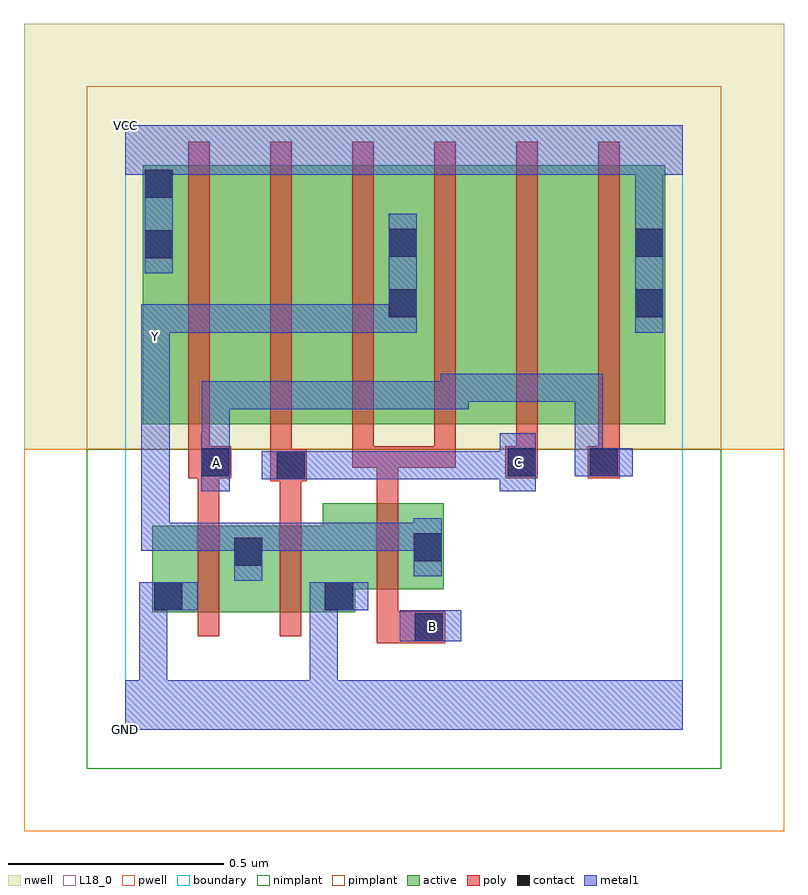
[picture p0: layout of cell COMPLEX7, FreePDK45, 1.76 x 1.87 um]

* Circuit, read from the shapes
.subckt COMPLEX7 A B C GND VCC Y
M1 Y A GND VSUBS nfet w=0.2u l=0.05u
M2 GND C Y VSUBS nfet w=0.2u l=0.05u
M3 Y B GND VSUBS nfet w=0.2u l=0.05u
M4 n1 A VCC n2 pfet w=0.6u l=0.05u
M5 n3 C n1 n2 pfet w=0.6u l=0.05u
M6 Y B n3 n2 pfet w=0.6u l=0.05u
M7 n4 B Y n2 pfet w=0.6u l=0.05u
M8 n5 C n4 n2 pfet w=0.6u l=0.05u
M9 VCC A n5 n2 pfet w=0.6u l=0.05u
.ends

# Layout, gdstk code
import gdstk
lib = gdstk.Library(unit=1e-6, precision=1e-09)
def R(c, l, rs):  # rectangles x0, y0, x1, y1
    for r in rs: c.add(gdstk.rectangle(r[:2], r[2:], *l))
def A(c, l, x, y, w, h, nx, ny, dx, dy):  # array of equal rectangles
    R(c, l, [(x+i*dx, y+j*dy, x+i*dx+w, y+j*dy+h) for i in range(nx) for j in range(ny)])
active = (1, 0)
pwell = (2, 0)
nwell = (3, 0)
nimplant = (4, 0)
pimplant = (5, 0)
poly = (9, 0)
contact = (10, 0)
metal1 = (11, 0)
L18_0 = (18, 0)
boundary = (235, 0)

complex7 = lib.new_cell('COMPLEX7')
R(complex7, active, [(0.062,0.272,0.137,0.472), (0.062,0.272,0.322,0.472), (0.247,0.272,0.322,0.472), (0.247,0.272,0.532,0.472), (0.457,0.272,0.532,0.415), (0.457,0.325,0.737,0.525), (0.662,0.325,0.737,0.525), (0.04,0.707,0.115,1.307), (0.04,0.707,0.265,1.307), (0.265,0.707,0.455,1.307), (0.455,0.707,0.68,1.307), (0.605,0.707,0.835,1.307), (0.605,0.707,0.68,1.2), (0.835,0.707,1.025,1.307), (1.025,0.707,1.25,1.307), (1.175,0.707,1.25,1.307)])
R(complex7, pwell, [(-0.235,-0.235,1.525,0.65)])
R(complex7, nwell, [(-0.235,0.65,1.525,1.635)])
R(complex7, nimplant, [(-0.09,-0.09,1.38,0.65)])
R(complex7, pimplant, [(-0.09,0.65,1.38,1.49)])
A(complex7, poly, 0.525, 0.607, 0.05, 0.095, 4, 1, 0.19, 0)
A(complex7, poly, 0.145, 0.652, 0.05, 0.71, 6, 1, 0.19, 0)
R(complex7, poly, [(0.582,0.2,0.74,0.275), (0.167,0.217,0.217,0.527), (0.357,0.217,0.407,0.527), (0.582,0.225,0.632,0.32), (0.582,0.27,0.632,0.58), (0.167,0.477,0.217,0.632), (0.357,0.477,0.407,0.625), (0.582,0.53,0.632,0.657), (0.335,0.575,0.42,0.65), (0.145,0.582,0.245,0.657), (0.88,0.582,0.955,0.657), (1.07,0.582,1.145,0.657), (0.335,0.6,0.385,0.702), (0.145,0.607,0.195,0.702), (0.525,0.607,0.632,0.657), (0.582,0.607,0.765,0.657), (0.715,0.607,0.765,0.657), (0.715,0.607,0.765,0.657), (0.715,0.607,0.765,0.657)])
R(complex7, contact, [(0.67,0.205,0.735,0.27), (0.067,0.277,0.132,0.342), (0.462,0.277,0.527,0.342), (0.252,0.38,0.317,0.445), (0.667,0.39,0.732,0.455), (0.35,0.58,0.415,0.645), (0.175,0.587,0.24,0.652), (0.885,0.587,0.95,0.652), (1.075,0.587,1.14,0.652), (0.61,0.955,0.675,1.02), (1.18,0.955,1.245,1.02), (0.045,1.092,0.11,1.157), (0.61,1.095,0.675,1.16), (1.18,1.095,1.245,1.16), (0.045,1.232,0.11,1.297)])
R(complex7, metal1, [(0,0,1.29,0.115), (0.032,0.05,0.097,0.115), (0.032,0.05,0.097,0.115), (0.032,0.05,0.097,0.115), (0.032,0.05,0.097,0.115), (0.032,0.05,0.097,0.115), (0.032,0.05,0.097,0.115), (0.032,0.05,0.097,0.342), (0.427,0.05,0.492,0.115), (0.427,0.05,0.492,0.115), (0.427,0.05,0.492,0.115), (0.427,0.05,0.492,0.115), (0.427,0.05,0.492,0.342), (0.635,0.205,0.777,0.277), (0.032,0.277,0.167,0.342), (0.427,0.277,0.492,0.342), (0.427,0.277,0.492,0.342), (0.427,0.277,0.562,0.342), (0.252,0.345,0.317,0.48), (0.667,0.355,0.732,0.49), (0.037,0.415,0.102,0.48), (0.037,0.415,0.102,0.48), (0.037,0.415,0.102,0.48), (0.037,0.415,0.317,0.48), (0.037,0.415,0.102,0.907), (0.252,0.415,0.455,0.48), (0.39,0.415,0.455,0.48), (0.39,0.415,0.455,0.48), (0.39,0.415,0.455,0.48), (0.39,0.415,0.657,0.48), (0.592,0.415,0.657,0.48), (0.592,0.415,0.732,0.48), (0.175,0.552,0.242,0.687), (0.867,0.552,0.95,0.687), (0.315,0.58,0.45,0.645), (0.385,0.58,0.455,0.645), (0.39,0.58,0.455,0.645), (0.39,0.58,0.657,0.645), (0.592,0.58,0.657,0.645), (0.592,0.58,0.657,0.645), (0.592,0.58,0.657,0.645), (0.592,0.58,0.795,0.645), (0.73,0.58,0.795,0.645), (0.73,0.58,0.932,0.645), (0.867,0.58,0.932,0.645), (0.867,0.58,0.932,0.645), (1.04,0.587,1.105,0.652), (1.04,0.587,1.105,0.652), (1.04,0.587,1.175,0.652), (1.04,0.587,1.105,0.825), (0.177,0.622,0.242,0.687), (0.177,0.622,0.242,0.687), (0.177,0.622,0.242,0.807), (0.177,0.742,0.242,0.807), (0.177,0.742,0.455,0.807), (0.39,0.742,0.455,0.807), (0.39,0.742,0.455,0.807), (0.39,0.742,0.455,0.807), (0.39,0.742,0.657,0.807), (0.592,0.742,0.657,0.807), (0.592,0.742,0.657,0.807), (0.592,0.742,0.657,0.807), (0.592,0.742,0.795,0.807), (0.73,0.742,0.795,0.825), (0.73,0.76,0.932,0.825), (0.867,0.76,0.932,0.825), (0.867,0.76,0.932,0.825), (0.867,0.76,0.932,0.825), (0.867,0.76,1.105,0.825), (1.04,0.76,1.105,0.825), (0.037,0.842,0.102,0.977), (0.037,0.912,0.102,0.977), (0.037,0.912,0.102,0.985), (0.037,0.92,0.102,0.985), (0.037,0.92,0.102,0.985), (0.037,0.92,0.102,0.985), (0.037,0.92,0.102,0.985), (0.037,0.92,0.24,0.985), (0.175,0.92,0.24,0.985), (0.175,0.92,0.455,0.985), (0.39,0.92,0.455,0.985), (0.39,0.92,0.455,0.985), (0.39,0.92,0.455,0.985), (0.39,0.92,0.657,0.985), (0.592,0.92,0.657,0.985), (0.592,0.92,0.675,0.985), (0.61,0.92,0.675,1.195), (1.18,0.92,1.245,1.195), (0.045,1.057,0.11,1.332), (1.18,1.13,1.245,1.35), (0.045,1.267,0.11,1.35), (0,1.285,1.29,1.4)])
R(complex7, L18_0, [(0,0,1.29,0.115), (0.032,0.05,0.097,0.115), (0.032,0.05,0.097,0.115), (0.032,0.05,0.097,0.115), (0.032,0.05,0.097,0.115), (0.032,0.05,0.097,0.115), (0.032,0.05,0.097,0.115), (0.032,0.05,0.097,0.342), (0.427,0.05,0.492,0.115), (0.427,0.05,0.492,0.115), (0.427,0.05,0.492,0.115), (0.427,0.05,0.492,0.115), (0.427,0.05,0.492,0.342), (0.635,0.205,0.777,0.277), (0.677,0.207,0.742,0.272), (0.032,0.277,0.167,0.342), (0.427,0.277,0.492,0.342), (0.427,0.277,0.492,0.342), (0.427,0.277,0.562,0.342), (0.252,0.345,0.317,0.48), (0.667,0.355,0.732,0.49), (0.037,0.415,0.102,0.48), (0.037,0.415,0.102,0.48), (0.037,0.415,0.102,0.48), (0.037,0.415,0.102,0.907), (0.037,0.415,0.317,0.48), (0.252,0.415,0.455,0.48), (0.39,0.415,0.455,0.48), (0.39,0.415,0.455,0.48), (0.39,0.415,0.455,0.48), (0.39,0.415,0.657,0.48), (0.592,0.415,0.657,0.48), (0.592,0.415,0.732,0.48), (0.175,0.552,0.242,0.687), (0.867,0.552,0.95,0.687), (0.315,0.58,0.45,0.645), (0.385,0.58,0.455,0.645), (0.39,0.58,0.455,0.645), (0.39,0.58,0.657,0.645), (0.592,0.58,0.657,0.645), (0.592,0.58,0.657,0.645), (0.592,0.58,0.657,0.645), (0.592,0.58,0.795,0.645), (0.73,0.58,0.795,0.645), (0.73,0.58,0.932,0.645), (0.867,0.58,0.932,0.645), (0.867,0.58,0.932,0.645), (0.177,0.587,0.242,0.652), (0.877,0.587,0.942,0.652), (1.04,0.587,1.105,0.652), (1.04,0.587,1.105,0.652), (1.04,0.587,1.175,0.652), (1.04,0.587,1.105,0.825), (0.177,0.622,0.242,0.687), (0.177,0.622,0.242,0.687), (0.177,0.622,0.242,0.807), (0.177,0.742,0.242,0.807), (0.177,0.742,0.455,0.807), (0.39,0.742,0.455,0.807), (0.39,0.742,0.455,0.807), (0.39,0.742,0.455,0.807), (0.39,0.742,0.657,0.807), (0.592,0.742,0.657,0.807), (0.592,0.742,0.657,0.807), (0.592,0.742,0.657,0.807), (0.592,0.742,0.795,0.807), (0.73,0.742,0.795,0.825), (0.73,0.76,0.932,0.825), (0.867,0.76,0.932,0.825), (0.867,0.76,0.932,0.825), (0.867,0.76,0.932,0.825), (0.867,0.76,1.105,0.825), (1.04,0.76,1.105,0.825), (0.037,0.842,0.102,0.977), (0.037,0.877,0.102,0.942), (0.037,0.912,0.102,0.977), (0.037,0.912,0.102,0.985), (0.037,0.92,0.102,0.985), (0.037,0.92,0.102,0.985), (0.037,0.92,0.102,0.985), (0.037,0.92,0.102,0.985), (0.037,0.92,0.24,0.985), (0.175,0.92,0.24,0.985), (0.175,0.92,0.455,0.985), (0.39,0.92,0.455,0.985), (0.39,0.92,0.455,0.985), (0.39,0.92,0.455,0.985), (0.39,0.92,0.657,0.985), (0.592,0.92,0.657,0.985), (0.592,0.92,0.675,0.985), (0.61,0.92,0.675,1.195), (1.18,0.92,1.245,1.195), (0.045,1.057,0.11,1.332), (1.18,1.13,1.245,1.35), (0.045,1.267,0.11,1.35), (0,1.285,1.29,1.4)])
R(complex7, boundary, [(0,0,1.29,1.4)])
complex7.add(gdstk.Label('A', (0.21,0.62), layer=11, texttype=0))
complex7.add(gdstk.Label('B', (0.71,0.24), layer=11, texttype=0))
complex7.add(gdstk.Label('C', (0.91,0.62), layer=11, texttype=0))
complex7.add(gdstk.Label('Y', (0.07,0.91), layer=11, texttype=0))
complex7.add(gdstk.Label('VCC', (0,1.4), layer=11, texttype=0))
complex7.add(gdstk.Label('GND', (0,0), layer=11, texttype=0))

lib.write_gds('COMPLEX7.gds')
